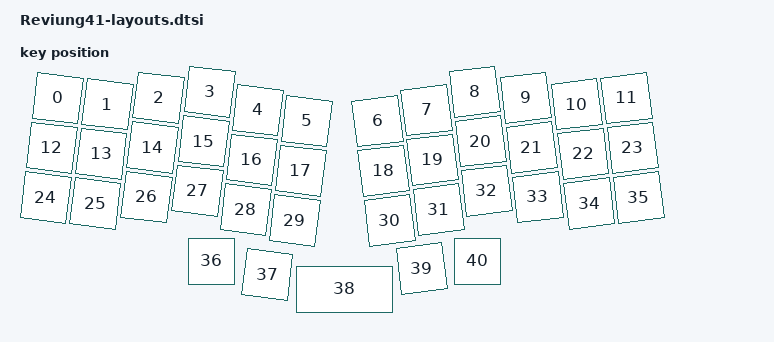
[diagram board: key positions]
#include <physical_layouts.dtsi>

/ {
    layout_0: layout_0 {
        compatible = "zmk,physical-layout";
        display-name = "reviung41";

        kscan = <&kscan_0>;
        transform = <&matrix_transform_0>;

        keys  //                     w   h    x    y     rot    rx    ry
            = <&key_physical_attrs 100 100    0   50     700   400   335>
            , <&key_physical_attrs 100 100  100   50     700   400   335>
            , <&key_physical_attrs 100 100  200   25     700   400   335>
            , <&key_physical_attrs 100 100  300    0     700   400   335>
            , <&key_physical_attrs 100 100  400   25     700   400   335>
            , <&key_physical_attrs 100 100  500   35     700   400   335>
            , <&key_physical_attrs 100 100  700   35  (-700)   900   335>
            , <&key_physical_attrs 100 100  800   25  (-700)   900   335>
            , <&key_physical_attrs 100 100  900    0  (-700)   900   335>
            , <&key_physical_attrs 100 100 1000   25  (-700)   900   335>
            , <&key_physical_attrs 100 100 1100   50  (-700)   900   335>
            , <&key_physical_attrs 100 100 1200   50  (-700)   900   335>
            , <&key_physical_attrs 100 100    0  150     700   400   335>
            , <&key_physical_attrs 100 100  100  150     700   400   335>
            , <&key_physical_attrs 100 100  200  125     700   400   335>
            , <&key_physical_attrs 100 100  300  100     700   400   335>
            , <&key_physical_attrs 100 100  400  125     700   400   335>
            , <&key_physical_attrs 100 100  500  135     700   400   335>
            , <&key_physical_attrs 100 100  700  135  (-700)   900   335>
            , <&key_physical_attrs 100 100  800  125  (-700)   900   335>
            , <&key_physical_attrs 100 100  900  100  (-700)   900   335>
            , <&key_physical_attrs 100 100 1000  125  (-700)   900   335>
            , <&key_physical_attrs 100 100 1100  150  (-700)   900   335>
            , <&key_physical_attrs 100 100 1200  150  (-700)   900   335>
            , <&key_physical_attrs 100 100    0  250     700   400   335>
            , <&key_physical_attrs 100 100  100  250     700   400   335>
            , <&key_physical_attrs 100 100  200  225     700   400   335>
            , <&key_physical_attrs 100 100  300  200     700   400   335>
            , <&key_physical_attrs 100 100  400  225     700   400   335>
            , <&key_physical_attrs 100 100  500  235     700   400   335>
            , <&key_physical_attrs 100 100  700  235  (-700)   900   335>
            , <&key_physical_attrs 100 100  800  225  (-700)   900   335>
            , <&key_physical_attrs 100 100  900  200  (-700)   900   335>
            , <&key_physical_attrs 100 100 1000  225  (-700)   900   335>
            , <&key_physical_attrs 100 100 1100  250  (-700)   900   335>
            , <&key_physical_attrs 100 100 1200  250  (-700)   900   335>
            , <&key_physical_attrs 100 100  339  335       0     0     0>
            , <&key_physical_attrs 100 100  450  362     700   500   412>
            , <&key_physical_attrs 200 100  555  391       0     0     0>
            , <&key_physical_attrs 100 100  760  362  (-700)   710   412>
            , <&key_physical_attrs 100 100  871  335       0     0     0>
            ;
    };
};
